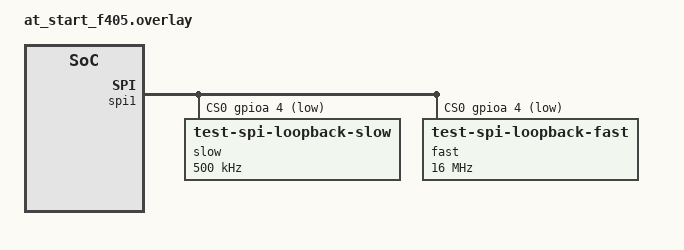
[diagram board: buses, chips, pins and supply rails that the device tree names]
/*
 * SPDX-License-Identifier: Apache-2.0
 *
 * Copyright (c) 2022 TOKITA Hiroshi <tokita.hiroshi@gmail.com>
 */

//#include <dt-bindings/dma/at32_dma.h>

&dma1 {
	status = "okay";
};

&pinctrl {
	spi1_default: spi1_default {
		group1 {
			pinmux = <SPI1_MISO_PA6>, <SPI1_SCK_PA5>,
				 <SPI1_MOSI_PA7>;
		};
	};
};

&spi1 {
	status = "okay";
	pinctrl-0 = <&spi1_default>;
	pinctrl-names = "default";

	cs-gpios = <&gpioa 4 GPIO_ACTIVE_LOW>;

	dmas =  <&dma1 1 10 0 0>, <&dma1 2 11 0 0>;
	dma-names = "rx", "tx";

	slow@0 {
		compatible = "test-spi-loopback-slow";
		reg = <0>;
		spi-max-frequency = <500000>;
	};
	fast@0 {
		compatible = "test-spi-loopback-fast";
		reg = <0>;
		spi-max-frequency = <16000000>;
	};
};
